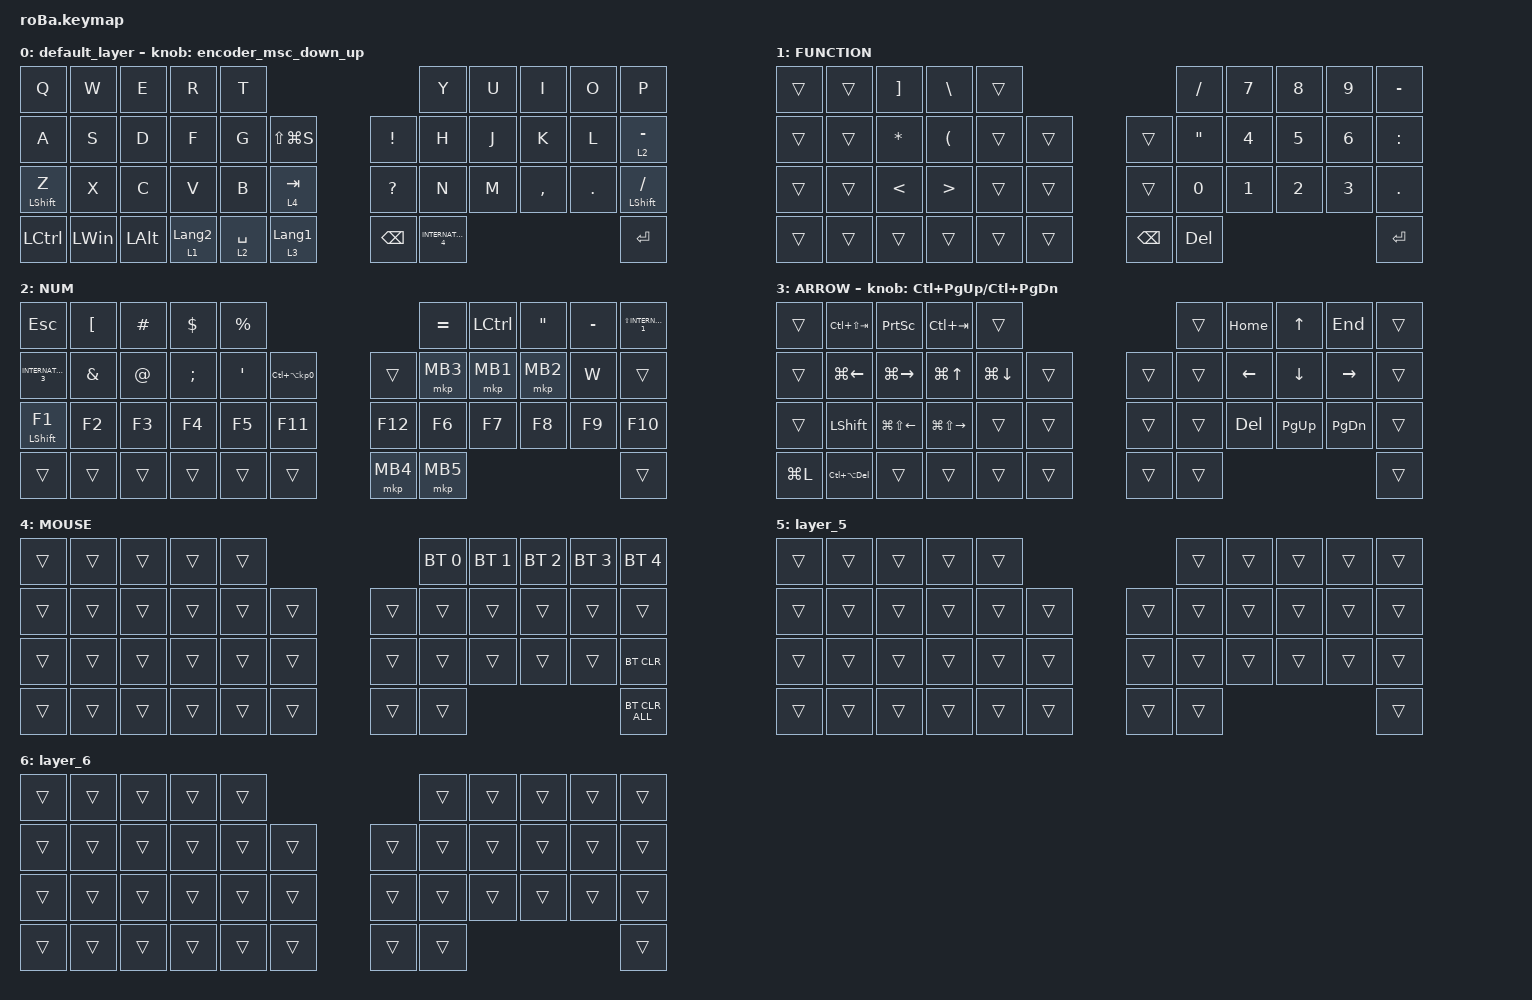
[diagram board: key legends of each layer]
#include <behaviors.dtsi>
#include <dt-bindings/zmk/bt.h>
#include <dt-bindings/zmk/keys.h>
#include <dt-bindings/zmk/pointing.h>

#define ZMK_POINTING_DEFAULT_SCRL_VAL 30

&mt {
    flavor = "balanced";
    quick-tap-ms = <0>;
};

&trackball {
    #automouse-layer = <4>;
    scroll-layers = <3>;

    // arrows {
    //     layers = <3>;
    //     bindings =
    //         <&kp RIGHT_ARROW>,
    //         <&kp LEFT_ARROW>,
    //         <&kp UP_ARROW>,
    //         <&kp DOWN_ARROW>;
    //     tick = <10>;
    //     wait-ms = <5>;
    //     tap-ms = <5>;
    // };
};

/ {
    combos { compatible = "zmk,combos"; };

    macros {
        to_layer_0: to_layer_0 {
            compatible = "zmk,behavior-macro-one-param";
            #binding-cells = <1>;
            bindings = <&to 0 &macro_param_1to1 &kp MACRO_PLACEHOLDER>;
            label = "TO_LAYER_0";
        };
    };

    behaviors {
        lt_to_layer_0: lt_to_layer_0 {
            compatible = "zmk,behavior-hold-tap";
            label = "LAYER_TAP_TO_0";
            bindings = <&mo>, <&to_layer_0>;

            #binding-cells = <2>;
            tapping-term-ms = <200>;
        };

        encoder_msc_down_up: encoder_msc_down_up {
            compatible = "zmk,behavior-sensor-rotate";
            label = "ENCODER_MSC_DOWN_UP";
            #sensor-binding-cells = <0>;
            bindings = <&msc SCRL_DOWN>, <&msc SCRL_UP>;

            tap-ms = <100>;
        };
    };

    keymap {
        compatible = "zmk,keymap";

        default_layer {
            bindings = <
&kp Q             &kp W         &kp E         &kp R             &kp T                                                          &kp Y                &kp U  &kp I      &kp O    &kp P
&kp A             &kp S         &kp D         &kp F             &kp G        &kp LS(LG(S))                    &kp EXCLAMATION  &kp H                &kp J  &kp K      &kp L    &lt 2 MINUS
&mt LEFT_SHIFT Z  &kp X         &kp C         &kp V             &kp B        &lt 4 TAB                        &kp QUESTION     &kp N                &kp M  &kp COMMA  &kp DOT  &mt LEFT_SHIFT SLASH
&kp LCTRL         &kp LEFT_WIN  &kp LEFT_ALT  &lt 1 LANGUAGE_2  &lt 2 SPACE  &lt_to_layer_0 3 LANGUAGE_1      &kp BACKSPACE    &kp INTERNATIONAL_4                             &kp ENTER
            >;

            sensor-bindings = <&encoder_msc_down_up>;
        };

        FUNCTION {
            bindings = <
&trans  &trans  &kp RIGHT_BRACKET  &kp BACKSLASH         &trans                             &kp SLASH          &kp N7        &kp N8        &kp N9        &kp MINUS
&trans  &trans  &kp ASTERISK       &kp LEFT_PARENTHESIS  &trans  &trans      &trans         &kp DOUBLE_QUOTES  &kp NUMBER_4  &kp N5        &kp NUMBER_6  &kp COLON
&trans  &trans  &kp LESS_THAN      &kp GREATER_THAN      &trans  &trans      &trans         &kp N0             &kp NUMBER_1  &kp NUMBER_2  &kp NUMBER_3  &kp PERIOD
&trans  &trans  &trans             &trans                &trans  &trans      &kp BACKSPACE  &kp DELETE                                                   &kp ENTER
            >;
        };

        NUM {
            bindings = <
&kp ESCAPE           &kp LEFT_BRACKET  &kp HASH     &kp DOLLAR     &kp PERCENT                                         &kp EQUAL  &kp LCTRL  &kp DOUBLE_QUOTES  &kp MINUS  &kp LS(INTERNATIONAL_1)
&kp INTERNATIONAL_3  &kp AMPERSAND     &kp AT_SIGN  &kp SEMICOLON  &kp SQT      &kp LC(LA(KP_NUMBER_0))      &trans    &mkp MB3   &mkp MB1   &mkp MB2           &kp W      &trans
&mt LEFT_SHIFT F1    &kp F2            &kp F3       &kp F4         &kp F5       &kp F11                      &kp F12   &kp F6     &kp F7     &kp F8             &kp F9     &kp F10
&trans               &trans            &trans       &trans         &trans       &trans                       &mkp MB4  &mkp MB5                                            &trans
            >;
        };

        ARROW {
            bindings = <
&trans     &kp LC(LS(TAB))     &kp PRINTSCREEN         &kp LC(TAB)              &trans                                  &trans  &kp HOME        &kp UP_ARROW    &kp END        &trans
&trans     &kp LG(LEFT_ARROW)  &kp LG(RIGHT)           &kp LG(UP_ARROW)         &kp LG(DOWN_ARROW)  &trans      &trans  &trans  &kp LEFT_ARROW  &kp DOWN_ARROW  &kp RIGHT      &trans
&trans     &kp LEFT_SHIFT      &kp LG(LS(LEFT_ARROW))  &kp LG(LS(RIGHT_ARROW))  &trans              &trans      &trans  &trans  &kp DELETE      &kp PAGE_UP     &kp PAGE_DOWN  &trans
&kp LG(L)  &kp LC(LA(DELETE))  &trans                  &trans                   &trans              &trans      &trans  &trans                                                 &trans
            >;

            sensor-bindings = <&inc_dec_kp LC(PAGE_UP) LC(PAGE_DOWN)>;
        };

        MOUSE {
            bindings = <
&trans  &trans  &trans  &trans  &trans                      &bt BT_SEL 0  &bt BT_SEL 1  &bt BT_SEL 2  &bt BT_SEL 3  &bt BT_SEL 4
&trans  &trans  &trans  &trans  &trans  &trans      &trans  &trans        &trans        &trans        &trans        &trans
&trans  &trans  &trans  &trans  &trans  &trans      &trans  &trans        &trans        &trans        &trans        &bt BT_CLR
&trans  &trans  &trans  &trans  &trans  &trans      &trans  &trans                                                  &bt BT_CLR_ALL
            >;
        };

        layer_5 {
            bindings = <
&trans  &trans  &trans  &trans  &trans                      &trans  &trans  &trans  &trans  &trans
&trans  &trans  &trans  &trans  &trans  &trans      &trans  &trans  &trans  &trans  &trans  &trans
&trans  &trans  &trans  &trans  &trans  &trans      &trans  &trans  &trans  &trans  &trans  &trans
&trans  &trans  &trans  &trans  &trans  &trans      &trans  &trans                          &trans
            >;
        };

        layer_6 {
            bindings = <
&trans  &trans  &trans  &trans  &trans                      &trans  &trans  &trans  &trans  &trans
&trans  &trans  &trans  &trans  &trans  &trans      &trans  &trans  &trans  &trans  &trans  &trans
&trans  &trans  &trans  &trans  &trans  &trans      &trans  &trans  &trans  &trans  &trans  &trans
&trans  &trans  &trans  &trans  &trans  &trans      &trans  &trans                          &trans
            >;
        };
    };
};
